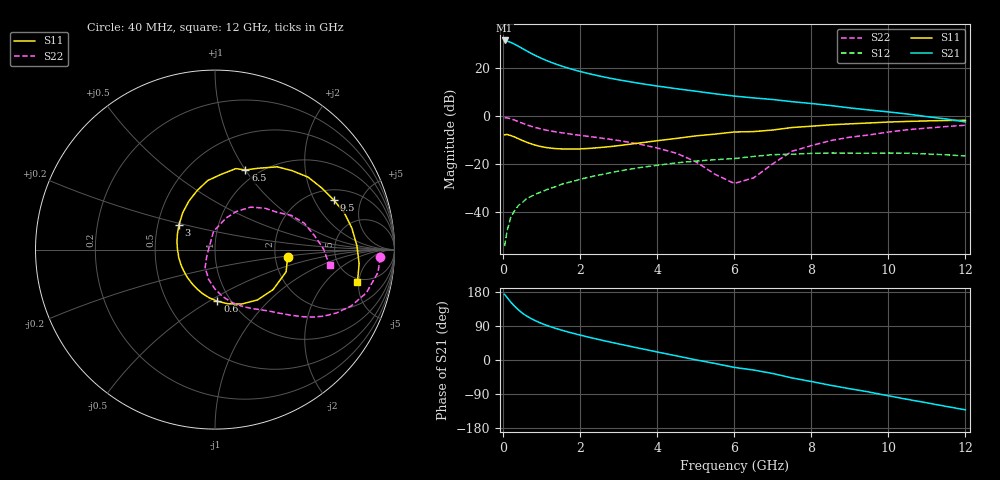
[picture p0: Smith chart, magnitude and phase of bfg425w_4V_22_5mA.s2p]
! Filename: 422bfg425.001
! BFG425W Field C1
! V1=8.377E-001V,V2=4.000E+000V, I1=2.768E-004A, I2=2.248E-002A
# GHz  S  MA  R 50
!  S11  S21  S12  S22
!Freq(GHz)  Mag  Ang  Mag  Ang  Mag  Ang  Mag  Ang
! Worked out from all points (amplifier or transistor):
!   44 points, 40 MHz to 12 GHz, reference 50 ohm
!   highest |S21| = 31.3 dB at 40 MHz (marker M1)
!   |S21| within 3 dB of that: start of sweep to 464 MHz
!   unconditionally stable (mu >= 1): start of sweep to 46.87 MHz; 1.271 GHz to end of sweep
!   at 700 MHz: K = 0.77, MSG = 29.9 dB, |S12| = -33.6 dB
!   at 2.4 GHz: K = 1.14, MAG = 18.6 dB, |S12| = -24.7 dB
!   at 12 GHz: K = 1.34, MAG = 3.6 dB, |S12| = -16.6 dB
!   S11 on the Smith chart (normalised r, x): 40 MHz: 2.35, -0.23; 600 MHz: 0.87, -0.54; 3 GHz: 0.64, +0.19; 6.5 GHz: 0.87, +1.00; 9.5 GHz: 2.54, +2.89; 12 GHz: 4.47, -4.80
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0.04  0.407 -5.7  36.83 173.0  0.002 52.5  0.922 -2.6
0.1  0.415 -17.4  35.75 165.4  0.004 76.3  0.917 -8.0
0.2  0.393 -34.5  33.62 152.8  0.008 73.1  0.877 -15.9
0.3  0.367 -49.8  30.78 141.9  0.011 70.0  0.821 -22.5
0.4  0.338 -63.7  27.87 132.3  0.014 67.5  0.763 -27.6
0.5  0.311 -76.4  25.12 123.8  0.016 64.8  0.709 -31.5
0.6  0.288 -87.4  22.62 116.8  0.019 63.5  0.662 -34.6
0.7  0.27 -97.0  20.47 110.9  0.021 62.1  0.622 -37.0
0.8  0.254 -106.2  18.61 105.5  0.023 61.4  0.588 -39.0
0.9  0.241 -114.4  17.02 100.8  0.025 60.8  0.56 -40.8
1  0.231 -122.0  15.63 96.5  0.027 60.1  0.535 -42.4
1.2  0.218 -135.6  13.4 88.9  0.031 58.9  0.496 -45.3
1.6  0.207 -158.7  10.35 76.4  0.04 56.3  0.439 -50.6
2.2  0.212 174.0  7.648 60.8  0.053 50.9  0.379 -59.2
3  0.243 145.7  5.625 42.5  0.072 41.7  0.31 -72.0
4.5  0.343 107.0  3.682 11.0  0.107 20.5  0.169 -102.3
5.5  0.421 85.2  2.888 -9.2  0.124 5.0  0.062 -138.7
6.5  0.475 69.1  2.374 -26.4  0.145 -7.2  0.052 116.8
8.5  0.657 38.0  1.646 -66.7  0.171 -44.2  0.309 50.1
9.5  0.717 22.7  1.334 -84.5  0.169 -61.0  0.405 30.7
10.5  0.772 8.9  1.097 -104.0  0.169 -79.7  0.519 16.4
12  0.814 -12.9  0.754 -131.5  0.148 -109.8  0.644 -7.9
